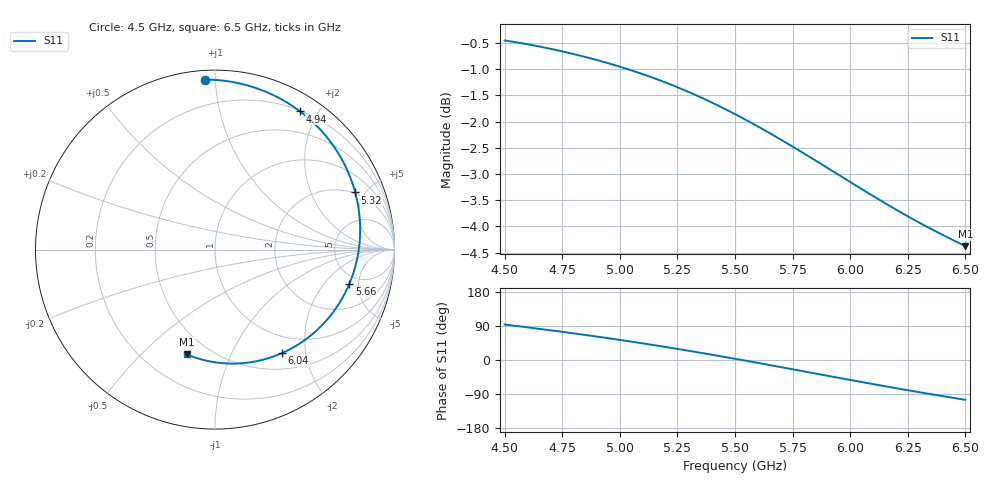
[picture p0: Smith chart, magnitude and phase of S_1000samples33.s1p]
! TOUCHSTONE file generated by CST MICROWAVE STUDIO
! Date and time: Wed Oct 26 18:25:41 2022
! Project name: L.cst
! Parameters = {Di=1.27; Epsilon_r=1.56; InnerDiameter=1.27; Length=2; Lf=10; Lg=60; OuterConductorThickness=0.2921; OuterDiameter=3.6; Wf=3; Wp=41.2; de=1.5; df=6.8; g=0.8; gx=2.83662; gy=4.0054; h=2.34; hf=1.524; px=11.3046; py=12.0725; w=9.7; wx=8.46797; wy=8.06708}
! Header version: 2018
! Port assignment regex: !\s*Touchstone port\s*([0-9]+)\s*=\s*(CST MWS port|CST DS port)\s*([0-9]+|Zmin|Zmax)\s*\(\"(.*)\"\)(\s*mode\s*([0-9]+))?.*
! Touchstone port assignment:
! Touchstone port 1 = CST MWS port 1 ("")
# GHz S DB R 50
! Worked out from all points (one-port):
!   101 points, 4.5 GHz to 6.5 GHz, reference 50 ohm
!   lowest |S11| = -4.4 dB at 6.5 GHz (marker M1), VSWR 4.05, Z = 18.9 - j34.7 ohm
!   |S11| at or under -10 dB: nowhere
!   S11 on the Smith chart (normalised r, x): 4.5 GHz: 0.05, +0.94; 4.94 GHz: 0.21, +1.77; 5.32 GHz: 1.93, +4.27; 5.66 GHz: 4.02, -3.83; 6.04 GHz: 0.73, -1.59; 6.5 GHz: 0.38, -0.69
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4.5  -0.45 93.5
4.58  -0.51 87.6
4.64  -0.56 83.0
4.76  -0.67 73.5
4.86  -0.78 65.2
4.94  -0.88 58.3
5  -0.95 53.0
5.06  -1.04 47.5
5.14  -1.16 40.0
5.2  -1.26 34.2
5.26  -1.36 28.3
5.32  -1.48 22.2
5.42  -1.68 11.8
5.5  -1.86 3.2
5.58  -2.05 -5.5
5.66  -2.24 -14.4
5.76  -2.50 -25.6
5.82  -2.66 -32.4
5.88  -2.83 -39.1
5.94  -2.99 -45.9
6  -3.15 -52.6
6.04  -3.26 -57.0
6.14  -3.53 -68.0
6.2  -3.68 -74.4
6.26  -3.83 -80.8
6.32  -3.97 -87.0
6.38  -4.11 -93.2
6.5  -4.38 -105.1
